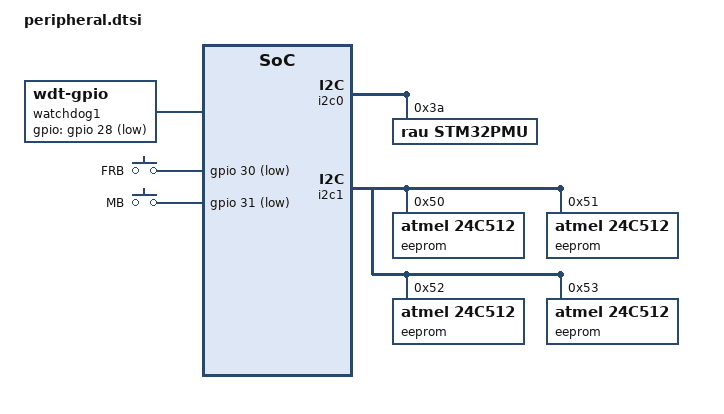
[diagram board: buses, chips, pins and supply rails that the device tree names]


#include "gpio_line_names.h"

&gpio{
	gpio-line-names = MIO_00, MIO_01, MIO_02, MIO_03, MIO_04, MIO_05, MIO_06, MIO_07,
			MIO_08, MIO_09, MIO_10, MIO_11, MIO_12, MIO_13, MIO_14, MIO_15,
			MIO_16, MIO_17, MIO_18, MIO_19, MIO_20, MIO_21, MIO_22, MIO_23,
			MIO_24, MIO_25, MIO_26, MIO_27, MIO_28, MIO_29, MIO_30, MIO_31,
			MIO_32, MIO_33, MIO_34, MIO_35, MIO_36, MIO_37, MIO_38, MIO_39,
			MIO_40, MIO_41, MIO_42, MIO_43, MIO_44, MIO_45, MIO_46, MIO_47,
			MIO_48, MIO_49, MIO_50, MIO_51, MIO_52, MIO_53, MIO_54, MIO_55,
			MIO_56, MIO_57, MIO_58, MIO_59, MIO_60, MIO_61, MIO_62, MIO_63,
			MIO_64, MIO_65, MIO_66, MIO_67, MIO_68, MIO_69, MIO_70, MIO_71,
			MIO_72, MIO_73, MIO_74, MIO_75, MIO_76, MIO_77,
			EMIO_00, EMIO_01, EMIO_02, EMIO_03, EMIO_04, EMIO_05, EMIO_06, EMIO_07,
			EMIO_08, EMIO_09, EMIO_10, EMIO_11, EMIO_12, EMIO_13, EMIO_14, EMIO_15,
			EMIO_16, EMIO_17, EMIO_18, EMIO_19, EMIO_20, EMIO_21, EMIO_22, EMIO_23,
			EMIO_24, EMIO_25, EMIO_26, EMIO_27, EMIO_28, EMIO_29, EMIO_30, EMIO_31,
			EMIO_32, EMIO_33, EMIO_34, EMIO_35, EMIO_36, EMIO_37, EMIO_38, EMIO_39,
			EMIO_40, EMIO_41, EMIO_42, EMIO_43, EMIO_44, EMIO_45, EMIO_46, EMIO_47,
			EMIO_48, EMIO_49, EMIO_50, EMIO_51, EMIO_52, EMIO_53, EMIO_54, EMIO_55,
			EMIO_56, EMIO_57, EMIO_58, EMIO_59, EMIO_60, EMIO_61, EMIO_62, EMIO_63,
			EMIO_64, EMIO_65, EMIO_66, EMIO_67, EMIO_68, EMIO_69, EMIO_70, EMIO_71,
			EMIO_72, EMIO_73, EMIO_74, EMIO_75, EMIO_76, EMIO_77, EMIO_78, EMIO_79,
			EMIO_80, EMIO_81, EMIO_82, EMIO_83, EMIO_84, EMIO_85, EMIO_86, EMIO_87,
			EMIO_88, EMIO_89, EMIO_90, EMIO_91, EMIO_92, EMIO_93, EMIO_94, EMIO_95;
};


/ {
	watchdog1: ext_watchdog {
		/* ADM706 */
		compatible = "linux,wdt-gpio";
		gpios = <&gpio 28 GPIO_ACTIVE_LOW>;
		hw_algo = "toggle";
		hw_margin_ms = <400>;
	};

	gpio_keys{
		compatible = "gpio-keys";
		#address-cells = <1>;
		#size-cells = <0>;
		//autorepeat;
#ifdef linux
#undef linux
#endif
		button@0 {
			label = "FRB";
			linux,code = <103>;
			linux,input-type;
			gpios = <&gpio 30 1>;
		};
		button1@1 {
			label = "MB";
			linux,code = <104>;
			linux,input-type;
			gpios = <&gpio 31 1>;
		};
	};

};

&i2c0 {
	status = "okay";

	stm32pmu@3a {
		compatible = "rau,stm32pmu";
		reg = <0x3a>;
	};
};

&i2c1 {
	status = "okay";

	eeprom@50 {
		compatible = "atmel,24c512";
		reg = <0x50>;
		pagesize = <256>;
	};
	eeprom@51 {
		compatible = "atmel,24c512";
		reg = <0x51>;
		pagesize = <256>;
	};
	eeprom@52 {
		compatible = "atmel,24c512";
		reg = <0x52>;
		pagesize = <256>;
	};
	eeprom@53 {
		compatible = "atmel,24c512";
		reg = <0x53>;
		pagesize = <256>;
	};

};



